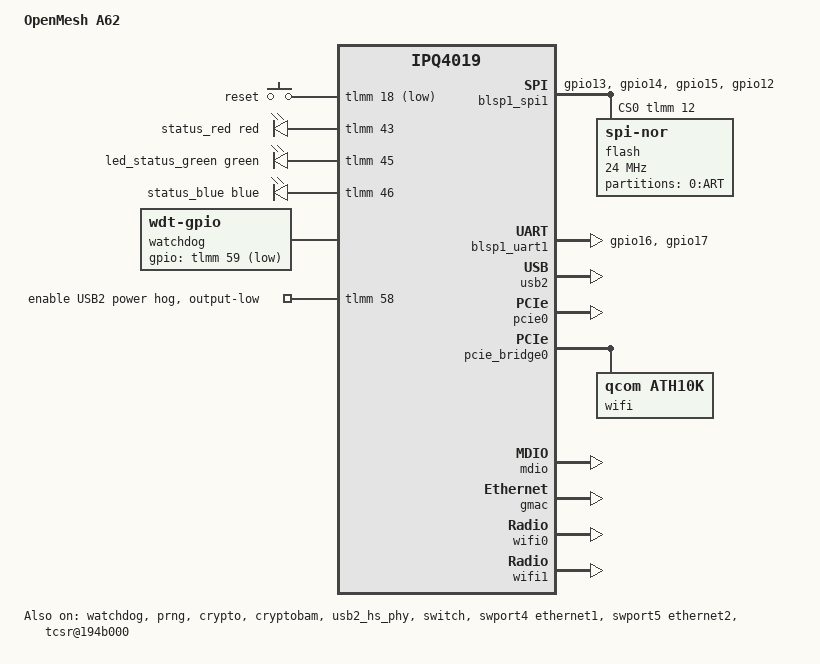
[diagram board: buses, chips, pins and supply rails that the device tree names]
// SPDX-License-Identifier: ISC
/* Copyright (c) 2015, The Linux Foundation. All rights reserved.
 * Copyright (c) 2017-2018, Sven Eckelmann <sven.eckelmann@openmesh.com>
 */

#include "qcom-ipq4019.dtsi"
#include <dt-bindings/gpio/gpio.h>
#include <dt-bindings/input/input.h>
#include <dt-bindings/leds/common.h>
#include <dt-bindings/soc/qcom,tcsr.h>

/ {
	model = "OpenMesh A62";
	compatible = "openmesh,a62";

	soc {
		tcsr@194b000 {
			/* select hostmode */
			compatible = "qcom,tcsr";
			reg = <0x194b000 0x100>;
			qcom,usb-hsphy-mode-select = <TCSR_USB_HSPHY_HOST_MODE>;
			status = "okay";
		};

		tcsr@1949000 {
			compatible = "qcom,tcsr";
			reg = <0x1949000 0x100>;
			qcom,wifi_glb_cfg = <TCSR_WIFI_GLB_CFG>;
		};

		ess_tcsr@1953000 {
			compatible = "qcom,tcsr";
			reg = <0x1953000 0x1000>;
			qcom,ess-interface-select = <TCSR_ESS_PSGMII>;
		};

		tcsr@1957000 {
			compatible = "qcom,tcsr";
			reg = <0x1957000 0x100>;
			qcom,wifi_noc_memtype_m0_m2 = <TCSR_WIFI_NOC_MEMTYPE_M0_M2>;
		};
	};

	keys {
		compatible = "gpio-keys";

		reset {
			label = "reset";
			gpios = <&tlmm 18 GPIO_ACTIVE_LOW>;
			linux,code = <KEY_RESTART >;
		};
	};

	aliases {
		// TODO: Verify if the ethernet0 alias is needed
		ethernet0 = &gmac;
		led-boot = &led_status_green;
		led-failsafe = &led_status_green;
		led-running = &led_status_green;
		led-upgrade = &led_status_green;
		label-mac-device = &swport4;
	};

	leds {
		compatible = "gpio-leds";

		status_red {
			function = LED_FUNCTION_STATUS;
			color = <LED_COLOR_ID_RED>;
			gpios = <&tlmm 43 GPIO_ACTIVE_HIGH>;
		};

		led_status_green: status_green {
			function = LED_FUNCTION_STATUS;
			color = <LED_COLOR_ID_GREEN>;
			gpios = <&tlmm 45 GPIO_ACTIVE_HIGH>;
		};

		status_blue {
			function = LED_FUNCTION_STATUS;
			color = <LED_COLOR_ID_BLUE>;
			gpios = <&tlmm 46 GPIO_ACTIVE_HIGH>;
		};
	};

	watchdog {
		compatible = "linux,wdt-gpio";
		gpios = <&tlmm 59 GPIO_ACTIVE_LOW>;
		hw_algo = "toggle";
		/* hw_margin_ms is actually 300s but driver limits it to 60s */
		hw_margin_ms = <60000>;
		always-running;
	};
};

&watchdog {
	status = "okay";
};

&prng {
	status = "okay";
};

&crypto {
	status = "okay";
};

&tlmm {
	serial_pins: serial_pinmux {
		mux {
			pins = "gpio16", "gpio17";
			function = "blsp_uart0";
			bias-disable;
		};
	};

	spi_0_pins: spi_0_pinmux {
		pin {
			function = "blsp_spi0";
			pins = "gpio13", "gpio14", "gpio15";
			drive-strength = <12>;
			bias-disable;
		};
		pin_cs {
			function = "gpio";
			pins = "gpio12";
			drive-strength = <2>;
			bias-disable;
			output-high;
		};
	};

	enable-usb-power {
		gpio-hog;
		gpios = <58 GPIO_ACTIVE_HIGH>;
		output-low;
		line-name = "enable USB2 power";
	};
};

&blsp_dma {
	status = "okay";
};

&blsp1_spi1 {
	pinctrl-0 = <&spi_0_pins>;
	pinctrl-names = "default";
	status = "okay";
	cs-gpios = <&tlmm 12 GPIO_ACTIVE_HIGH>;

	flash@0 {
		#address-cells = <1>;
		#size-cells = <1>;
		compatible = "jedec,spi-nor";
		reg = <0>;
		spi-max-frequency = <24000000>;

		/* partitions are passed via bootloader */
		partitions {
			partition-art {
				label = "0:ART";

				nvmem-layout {
					compatible = "fixed-layout";
					#address-cells = <1>;
					#size-cells = <1>;

					macaddr_gmac0: macaddr@0 {
						reg = <0x0 0x6>;
					};

					macaddr_gmac1: macaddr@6 {
						reg = <0x6 0x6>;
					};

					precal_art_1000: precal@1000 {
						reg = <0x1000 0x2f20>;
					};

					precal_art_5000: precal@5000 {
						reg = <0x5000 0x2f20>;
					};

					precal_art_9000: precal@9000 {
						reg = <0x9000 0x2f20>;
					};
				};
			};
		};
	};
};

&blsp1_uart1 {
	pinctrl-0 = <&serial_pins>;
	pinctrl-names = "default";
	status = "okay";
};

&cryptobam {
	status = "okay";
};

&usb2 {
	status = "okay";
};

&usb2_hs_phy {
	status = "okay";
};

&pcie0 {
	status = "okay";
	perst-gpio = <&tlmm 38 GPIO_ACTIVE_LOW>;
	wake-gpio = <&tlmm 50 GPIO_ACTIVE_LOW>;
};

&pcie_bridge0 {
	wifi@0,0 {
		compatible = "qcom,ath10k";
		reg = <0x00010000 0 0 0 0>;
		ieee80211-freq-limit = <5170000 5350000>;
		nvmem-cell-names = "pre-calibration";
		nvmem-cells = <&precal_art_9000>;
		qcom,ath10k-calibration-variant = "OM-A62";
	};
};

&mdio {
	status = "okay";
};

&gmac {
	status = "okay";
};

&switch {
	status = "okay";
};

&swport4 {
	status = "okay";
	label = "ethernet1";

	nvmem-cell-names = "mac-address";
	nvmem-cells = <&macaddr_gmac0>;
};

&swport5 {
	status = "okay";
	label = "ethernet2";

	nvmem-cell-names = "mac-address";
	nvmem-cells = <&macaddr_gmac1>;
};

&wifi0 {
	status = "okay";
	qcom,ath10k-calibration-variant = "OM-A62";

	nvmem-cell-names = "pre-calibration";
	nvmem-cells = <&precal_art_1000>;
};

&wifi1 {
	status = "okay";
	qcom,ath10k-calibration-variant = "OM-A62";
	ieee80211-freq-limit = <5470000 5875000>;

	nvmem-cell-names = "pre-calibration";
	nvmem-cells = <&precal_art_5000>;
};
